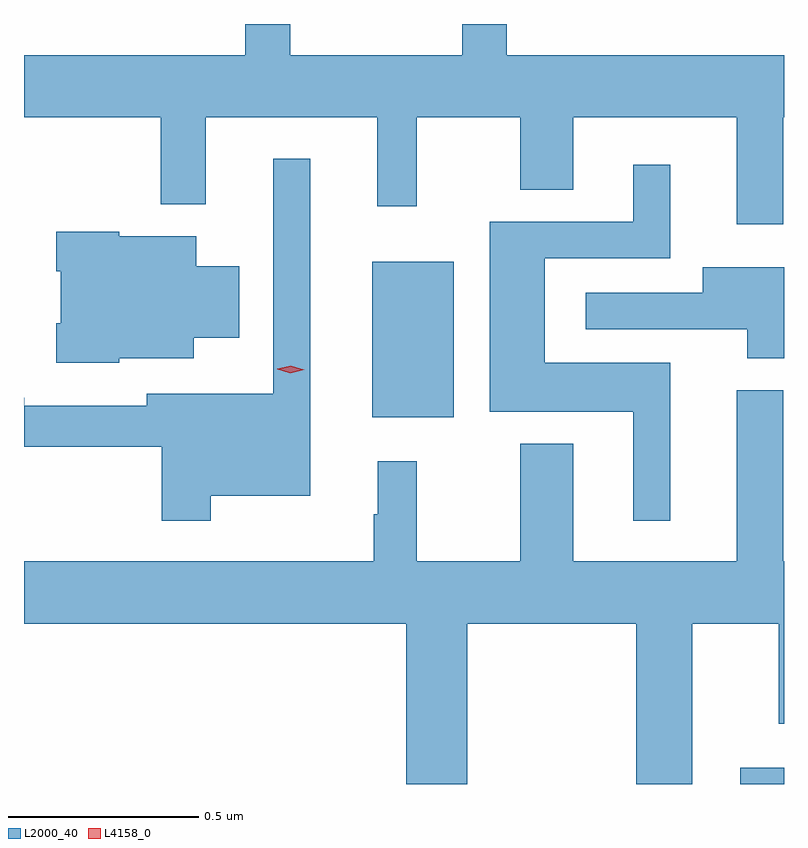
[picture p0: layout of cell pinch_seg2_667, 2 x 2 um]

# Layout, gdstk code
import gdstk
lib = gdstk.Library(unit=1e-6, precision=1e-09)
def R(c, l, rs):  # rectangles x0, y0, x1, y1
    for r in rs: c.add(gdstk.rectangle(r[:2], r[2:], *l))
def P(c, l, *ps):  # polygons
    for p in ps: c.add(gdstk.Polygon(p, *l))
L2000_40 = (2000, 40)
L4158_0 = (4158, 0)

pinch_seg2_667 = lib.new_cell('pinch_seg2_667')
R(pinch_seg2_667, L2000_40, [(1038.26,591.27,1038.375,591.313), (1037.291,592.235,1037.506,592.645)])
P(pinch_seg2_667, L2000_40, [(1038.373,593.024),(1038.375,593.024),(1038.375,593.188),(1037.645,593.188),(1037.645,593.27),(1037.528,593.27),(1037.528,593.188),(1037.075,593.188),(1037.075,593.27),(1036.957,593.27),(1036.957,593.188),(1036.375,593.188),(1036.375,593.024),(1036.735,593.024),(1036.735,592.796),(1036.853,592.796),(1036.853,593.024),(1037.305,593.024),(1037.305,592.791),(1037.408,592.791),(1037.408,593.024),(1037.681,593.024),(1037.681,592.834),(1037.821,592.834),(1037.821,593.024),(1038.251,593.024),(1038.251,592.743),(1038.373,592.743)],
  [(1036.867,592.028),(1037.128,592.028),(1037.128,592.915),(1037.031,592.915),(1037.031,592.297),(1036.698,592.297),(1036.698,592.266),(1036.376,592.266),(1036.376,592.286),(1036.375,592.286),(1036.375,592.158),(1036.738,592.158),(1036.738,591.963),(1036.867,591.963)],
  [(1038.076,592.378),(1037.746,592.378),(1037.746,592.653),(1038.076,592.653),(1038.076,592.9),(1037.978,592.9),(1037.978,592.749),(1037.6,592.749),(1037.6,592.25),(1037.978,592.25),(1037.978,591.963),(1038.076,591.963)],
  [(1036.626,592.391),(1036.822,592.391),(1036.822,592.445),(1036.942,592.445),(1036.942,592.633),(1036.828,592.633),(1036.828,592.711),(1036.626,592.711),(1036.626,592.723),(1036.46,592.723),(1036.46,592.619),(1036.472,592.619),(1036.472,592.483),(1036.46,592.483),(1036.46,592.379),(1036.626,592.379)],
  [(1038.375,592.63),(1038.161,592.63),(1038.161,592.563),(1037.853,592.563),(1037.853,592.467),(1038.278,592.467),(1038.278,592.391),(1038.375,592.391)],
  [(1037.381,591.27),(1037.541,591.27),(1037.541,591.692),(1037.986,591.692),(1037.986,591.27),(1038.133,591.27),(1038.133,591.692),(1038.361,591.692),(1038.361,591.429),(1038.375,591.429),(1038.375,591.856),(1038.373,591.856),(1038.373,592.306),(1038.251,592.306),(1038.251,591.856),(1037.821,591.856),(1037.821,592.165),(1037.681,592.165),(1037.681,591.856),(1037.408,591.856),(1037.408,592.12),(1037.306,592.12),(1037.306,591.98),(1037.295,591.98),(1037.295,591.856),(1036.375,591.856),(1036.375,591.692),(1037.381,591.692)])
P(pinch_seg2_667, L4158_0, [(1037.076,592.351),(1037.042,592.362),(1037.041,592.363),(1037.042,592.363),(1037.077,592.371),(1037.112,592.36),(1037.112,592.36),(1037.112,592.36)])

lib.write_gds('pinch_seg2_667.gds')
